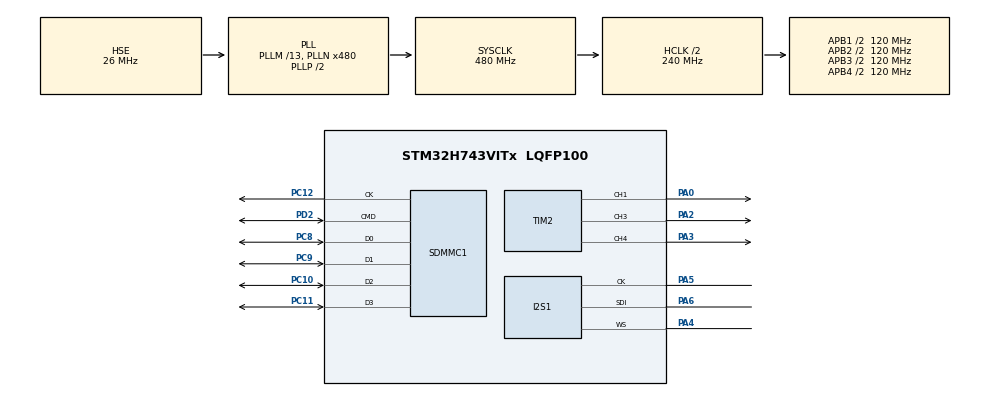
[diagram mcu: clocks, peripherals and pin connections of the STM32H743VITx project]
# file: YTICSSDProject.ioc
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CORTEX_M7.default_mode_Activation=1
Dma.Request0=SPI1_RX
Dma.SPI1_RX.0.Direction=DMA_PERIPH_TO_MEMORY
Dma.SPI1_RX.0.EventEnable=DISABLE
Dma.SPI1_RX.0.FIFOMode=DMA_FIFOMODE_DISABLE
Dma.SPI1_RX.0.Instance=DMA1_Stream0
Dma.SPI1_RX.0.MemDataAlignment=DMA_MDATAALIGN_HALFWORD
Dma.SPI1_RX.0.MemInc=DMA_MINC_ENABLE
Dma.SPI1_RX.0.Mode=DMA_CIRCULAR
Dma.SPI1_RX.0.PeriphDataAlignment=DMA_PDATAALIGN_HALFWORD
Dma.SPI1_RX.0.PeriphInc=DMA_PINC_DISABLE
Dma.SPI1_RX.0.Polarity=HAL_DMAMUX_REQ_GEN_RISING
Dma.SPI1_RX.0.Priority=DMA_PRIORITY_LOW
Dma.SPI1_RX.0.RequestNumber=1
Dma.SPI1_RX.0.SignalID=NONE
Dma.SPI1_RX.0.SyncEnable=DISABLE
Dma.SPI1_RX.0.SyncPolarity=HAL_DMAMUX_SYNC_NO_EVENT
Dma.SPI1_RX.0.SyncRequestNumber=1
Dma.SPI1_RX.0.SyncSignalID=NONE
I2S1.AudioFreq=I2S_AUDIOFREQ_32K
I2S1.DataFormat=I2S_DATAFORMAT_16B_EXTENDED
I2S1.ErrorAudioFreq=1.9 %
I2S1.Instance=SPI$Index
I2S1.RealAudioFreq=32.608 KHz
Mcu.Family=STM32H7
Mcu.Name=STM32H743VITx
Mcu.Package=LQFP100
NVIC.DMA1_Stream0_IRQn=true\:0\:0\:false\:false\:true\:false\:true\:true
NVIC.PriorityGroup=NVIC_PRIORITYGROUP_4
PA0.Signal=S_TIM2_CH1_ETR
PA2.Signal=S_TIM2_CH3
PA3.Signal=S_TIM2_CH4
PA4.Mode=Half_Duplex_Master_Rx
PA4.Signal=I2S1_WS
PA5.Mode=Half_Duplex_Master_Rx
PA5.Signal=I2S1_CK
PA6.Mode=Half_Duplex_Master_Rx
PA6.Signal=I2S1_SDI
PC10.Mode=SD_4_bits_Wide_bus
PC10.Signal=SDMMC1_D2
PC11.Mode=SD_4_bits_Wide_bus
PC11.Signal=SDMMC1_D3
PC12.Mode=SD_4_bits_Wide_bus
PC12.Signal=SDMMC1_CK
PC8.Mode=SD_4_bits_Wide_bus
PC8.Signal=SDMMC1_D0
PC9.Mode=SD_4_bits_Wide_bus
PC9.Signal=SDMMC1_D1
PD2.Mode=SD_4_bits_Wide_bus
PD2.Signal=SDMMC1_CMD
PH0-OSC_IN\ (PH0).Mode=HSE-External-Oscillator
PH0-OSC_IN\ (PH0).Signal=RCC_OSC_IN
PH1-OSC_OUT\ (PH1).Mode=HSE-External-Oscillator
PH1-OSC_OUT\ (PH1).Signal=RCC_OSC_OUT
ProjectManager.HeapSize=0x200
ProjectManager.StackSize=0x400
ProjectManager.TargetToolchain=STM32CubeIDE
RCC.ADCFreq_Value=52406250
RCC.APB1Freq_Value=120000000
RCC.APB2Freq_Value=120000000
RCC.APB3Freq_Value=120000000
RCC.APB4Freq_Value=120000000
RCC.CKPERSourceSelection=RCC_CLKPSOURCE_HSE
RCC.CortexFreq_Value=480000000
RCC.D1PPRE=RCC_APB3_DIV2
RCC.D2PPRE1=RCC_APB1_DIV2
RCC.D2PPRE2=RCC_APB2_DIV2
RCC.D3PPRE=RCC_APB4_DIV2
RCC.DIVM1=13
RCC.DIVN1=480
RCC.DIVQ1=20
RCC.HCLKFreq_Value=240000000
RCC.HPRE=RCC_HCLK_DIV2
RCC.HSE_VALUE=26000000
RCC.PLL2FRACN=0
RCC.PLL3FRACN=0
RCC.PLLFRACN=0
RCC.PLLSourceVirtual=RCC_PLLSOURCE_HSE
RCC.SYSCLKFreq_VALUE=480000000
RCC.SYSCLKSource=RCC_SYSCLKSOURCE_PLLCLK
RCC.USBFreq_Value=48000000
SDMMC1.ClockDiv=8
SH.S_TIM2_CH1_ETR.0=TIM2_CH1,PWM Generation1 CH1
SH.S_TIM2_CH3.0=TIM2_CH3,PWM Generation3 CH3
SH.S_TIM2_CH4.0=TIM2_CH4,PWM Generation4 CH4
TIM2.Channel-PWM\ Generation1\ CH1=TIM_CHANNEL_1
TIM2.Channel-PWM\ Generation3\ CH3=TIM_CHANNEL_3
TIM2.Channel-PWM\ Generation4\ CH4=TIM_CHANNEL_4
VP_FATFS_VS_SDIO.Mode=SDIO
VP_MEMORYMAP_VS_MEMORYMAP.Mode=CurAppReg
board=custom

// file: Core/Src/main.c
/* USER CODE BEGIN Header */
/**
  ******************************************************************************
  * @file           : main.c
  * @brief          : Main program body
  ******************************************************************************
  * @attention
  *
  * Copyright (c) 2025 STMicroelectronics.
  * All rights reserved.
  *
  * This software is licensed under terms that can be found in the LICENSE file
  * in the root directory of this software component.
  * If no LICENSE file comes with this software, it is provided AS-IS.
  *
  ******************************************************************************
  */
/* USER CODE END Header */
#include "main.h"
#include "fatfs.h"
#include "audio_sd.h"

/* USER CODE BEGIN PD */
#define SAMPLE_RATE        32000
#define CHANNELS           1
#define BITS_PER_SAMPLE    16
#define RECORD_TIME_SEC    20

#define BYTES_PER_FRAME    (CHANNELS * (BITS_PER_SAMPLE / 8))
#define TOTAL_BYTES_TARGET (SAMPLE_RATE * RECORD_TIME_SEC * BYTES_PER_FRAME)
/* USER CODE END PD */

I2S_HandleTypeDef hi2s1;
DMA_HandleTypeDef hdma_spi1_rx;

SD_HandleTypeDef hsd1;

TIM_HandleTypeDef htim2;

/* USER CODE BEGIN PV */
int16_t data_i2s[WAV_WRITE_SAMPLE_COUNT];
int16_t mono_buffer[WAV_WRITE_SAMPLE_COUNT / 2];
volatile int16_t sample_i2s;
volatile uint8_t start_stop_recording = 1;
volatile uint8_t half_i2s, full_i2s;
/* USER CODE END PV */
volatile uint32_t recorded_bytes = 0;
volatile uint8_t recording_done = 0;
void SystemClock_Config(void);
static void MPU_Config(void);
static void MX_GPIO_Init(void);
static void MX_DMA_Init(void);
static void MX_I2S1_Init(void);
static void MX_TIM2_Init(void);
static void MX_SDMMC1_SD_Init(void);

int main(void)
{

  /* MPU Configuration--------------------------------------------------------*/
  MPU_Config();

  /* MCU Configuration--------------------------------------------------------*/

  /* Reset of all peripherals, Initializes the Flash interface and the Systick. */
  HAL_Init();

  /* Configure the system clock */
  SystemClock_Config();

  /* Initialize all configured peripherals */
  MX_GPIO_Init();
  MX_DMA_Init();
  MX_I2S1_Init();
  MX_TIM2_Init();
  MX_SDMMC1_SD_Init();
  MX_FATFS_Init();
  /* USER CODE BEGIN 2 */

  HAL_TIM_PWM_Start(&htim2, TIM_CHANNEL_1);
  HAL_TIM_PWM_Start(&htim2, TIM_CHANNEL_3);
  HAL_TIM_PWM_Start(&htim2, TIM_CHANNEL_4);

  HAL_I2S_DMAStop(&hi2s1);
  HAL_Delay(500);
  sd_card_init();
  /* USER CODE END 2 */
  __HAL_TIM_SET_COMPARE(&htim2, TIM_CHANNEL_1, 1000);
  __HAL_TIM_SET_COMPARE(&htim2, TIM_CHANNEL_3, 0);
  __HAL_TIM_SET_COMPARE(&htim2, TIM_CHANNEL_4, 0);

  start_recording(I2S_AUDIOFREQ_32K);
  __HAL_TIM_SET_COMPARE(&htim2, TIM_CHANNEL_1, 0);
  __HAL_TIM_SET_COMPARE(&htim2, TIM_CHANNEL_3, 1000);
  __HAL_TIM_SET_COMPARE(&htim2, TIM_CHANNEL_4, 0);
  HAL_I2S_Receive_DMA(&hi2s1, (uint16_t *)data_i2s, sizeof(data_i2s)/2);
  __HAL_TIM_SET_COMPARE(&htim2, TIM_CHANNEL_1, 0);
  __HAL_TIM_SET_COMPARE(&htim2, TIM_CHANNEL_3, 0);
  __HAL_TIM_SET_COMPARE(&htim2, TIM_CHANNEL_4, 1000);
  /* Infinite loop */
  /* USER CODE BEGIN WHILE */
  while (1)
  {
	  if(start_stop_recording && half_i2s)
	  {
	      for(uint32_t i = 1, j = 0; i < WAV_WRITE_SAMPLE_COUNT / 2; i += 2)
	      {
	          mono_buffer[j++] = data_i2s[i]; // RIGHT channel
	      }

	      uint32_t bytes = (WAV_WRITE_SAMPLE_COUNT / 4) * 2;
	      write2wave_file((uint8_t*)mono_buffer, bytes);

	      recorded_bytes += bytes;
	      half_i2s = 0;
	  }
	  if(start_stop_recording && full_i2s)
	  {
	      for(uint32_t i = WAV_WRITE_SAMPLE_COUNT / 2 + 1, j = 0;
	          i < WAV_WRITE_SAMPLE_COUNT; i += 2)
	      {
	          mono_buffer[j++] = data_i2s[i]; // RIGHT channel
	      }

	      uint32_t bytes = (WAV_WRITE_SAMPLE_COUNT / 4) * 2;
	      write2wave_file((uint8_t*)mono_buffer, bytes);

	      recorded_bytes += bytes;
	      full_i2s = 0;
	  }

      /* ĐỦ 20 GIÂY → STOP */
      if(recorded_bytes >= TOTAL_BYTES_TARGET && !recording_done)
      {
          recording_done = 1;
          start_stop_recording = 0;

          HAL_I2S_DMAStop(&hi2s1);
          stop_recording();
      }
  }

  /* USER CODE END 3 */
}

void SystemClock_Config(void)
{
  RCC_OscInitTypeDef RCC_OscInitStruct = {0};
  RCC_ClkInitTypeDef RCC_ClkInitStruct = {0};

  /** Supply configuration update enable
  */
  HAL_PWREx_ConfigSupply(PWR_LDO_SUPPLY);

  /** Configure the main internal regulator output voltage
  */
  __HAL_PWR_VOLTAGESCALING_CONFIG(PWR_REGULATOR_VOLTAGE_SCALE0);

  while(!__HAL_PWR_GET_FLAG(PWR_FLAG_VOSRDY)) {}

  /** Initializes the RCC Oscillators according to the specified parameters
  * in the RCC_OscInitTypeDef structure.
  */
  RCC_OscInitStruct.OscillatorType = RCC_OSCILLATORTYPE_HSE;
  RCC_OscInitStruct.HSEState = RCC_HSE_ON;
  RCC_OscInitStruct.PLL.PLLState = RCC_PLL_ON;
  RCC_OscInitStruct.PLL.PLLSource = RCC_PLLSOURCE_HSE;
  RCC_OscInitStruct.PLL.PLLM = 13;
  RCC_OscInitStruct.PLL.PLLN = 480;
  RCC_OscInitStruct.PLL.PLLP = 2;
  RCC_OscInitStruct.PLL.PLLQ = 20;
  RCC_OscInitStruct.PLL.PLLR = 2;
  RCC_OscInitStruct.PLL.PLLRGE = RCC_PLL1VCIRANGE_1;
  RCC_OscInitStruct.PLL.PLLVCOSEL = RCC_PLL1VCOWIDE;
  RCC_OscInitStruct.PLL.PLLFRACN = 0;
  if (HAL_RCC_OscConfig(&RCC_OscInitStruct) != HAL_OK)
  {
    Error_Handler();
  }

  /** Initializes the CPU, AHB and APB buses clocks
  */
  RCC_ClkInitStruct.ClockType = RCC_CLOCKTYPE_HCLK|RCC_CLOCKTYPE_SYSCLK
                              |RCC_CLOCKTYPE_PCLK1|RCC_CLOCKTYPE_PCLK2
                              |RCC_CLOCKTYPE_D3PCLK1|RCC_CLOCKTYPE_D1PCLK1;
  RCC_ClkInitStruct.SYSCLKSource = RCC_SYSCLKSOURCE_PLLCLK;
  RCC_ClkInitStruct.SYSCLKDivider = RCC_SYSCLK_DIV1;
  RCC_ClkInitStruct.AHBCLKDivider = RCC_HCLK_DIV2;
  RCC_ClkInitStruct.APB3CLKDivider = RCC_APB3_DIV2;
  RCC_ClkInitStruct.APB1CLKDivider = RCC_APB1_DIV2;
  RCC_ClkInitStruct.APB2CLKDivider = RCC_APB2_DIV2;
  RCC_ClkInitStruct.APB4CLKDivider = RCC_APB4_DIV2;

  if (HAL_RCC_ClockConfig(&RCC_ClkInitStruct, FLASH_LATENCY_4) != HAL_OK)
  {
    Error_Handler();
  }
}

static void MX_I2S1_Init(void)
{

  hi2s1.Instance = SPI1;
  hi2s1.Init.Mode = I2S_MODE_MASTER_RX;
  hi2s1.Init.Standard = I2S_STANDARD_PHILIPS;
  hi2s1.Init.DataFormat = I2S_DATAFORMAT_16B_EXTENDED;
  hi2s1.Init.MCLKOutput = I2S_MCLKOUTPUT_DISABLE;
  hi2s1.Init.AudioFreq = I2S_AUDIOFREQ_32K;
  hi2s1.Init.CPOL = I2S_CPOL_LOW;
  hi2s1.Init.FirstBit = I2S_FIRSTBIT_MSB;
  hi2s1.Init.WSInversion = I2S_WS_INVERSION_DISABLE;
  hi2s1.Init.Data24BitAlignment = I2S_DATA_24BIT_ALIGNMENT_RIGHT;
  hi2s1.Init.MasterKeepIOState = I2S_MASTER_KEEP_IO_STATE_DISABLE;
  if (HAL_I2S_Init(&hi2s1) != HAL_OK)
  {
    Error_Handler();
  }

}

static void MX_SDMMC1_SD_Init(void)
{

  hsd1.Instance = SDMMC1;
  hsd1.Init.ClockEdge = SDMMC_CLOCK_EDGE_RISING;
  hsd1.Init.ClockPowerSave = SDMMC_CLOCK_POWER_SAVE_DISABLE;
  hsd1.Init.BusWide = SDMMC_BUS_WIDE_4B;
  hsd1.Init.HardwareFlowControl = SDMMC_HARDWARE_FLOW_CONTROL_DISABLE;
  hsd1.Init.ClockDiv = 8;

}

static void MX_TIM2_Init(void)
{

  TIM_MasterConfigTypeDef sMasterConfig = {0};
  TIM_OC_InitTypeDef sConfigOC = {0};

  htim2.Instance = TIM2;
  htim2.Init.Prescaler = 480-1;
  htim2.Init.CounterMode = TIM_COUNTERMODE_UP;
  htim2.Init.Period = 1000;
  htim2.Init.ClockDivision = TIM_CLOCKDIVISION_DIV1;
  htim2.Init.AutoReloadPreload = TIM_AUTORELOAD_PRELOAD_DISABLE;
  if (HAL_TIM_PWM_Init(&htim2) != HAL_OK)
  {
    Error_Handler();
  }
  sMasterConfig.MasterOutputTrigger = TIM_TRGO_RESET;
  sMasterConfig.MasterSlaveMode = TIM_MASTERSLAVEMODE_DISABLE;
  if (HAL_TIMEx_MasterConfigSynchronization(&htim2, &sMasterConfig) != HAL_OK)
  {
    Error_Handler();
  }
  sConfigOC.OCMode = TIM_OCMODE_PWM1;
  sConfigOC.Pulse = 0;
  sConfigOC.OCPolarity = TIM_OCPOLARITY_HIGH;
  sConfigOC.OCFastMode = TIM_OCFAST_DISABLE;
  if (HAL_TIM_PWM_ConfigChannel(&htim2, &sConfigOC, TIM_CHANNEL_1) != HAL_OK)
  {
    Error_Handler();
  }
  if (HAL_TIM_PWM_ConfigChannel(&htim2, &sConfigOC, TIM_CHANNEL_3) != HAL_OK)
  {
    Error_Handler();
  }
  if (HAL_TIM_PWM_ConfigChannel(&htim2, &sConfigOC, TIM_CHANNEL_4) != HAL_OK)
  {
    Error_Handler();
  }
  HAL_TIM_MspPostInit(&htim2);

}

static void MX_DMA_Init(void)
{

  /* DMA controller clock enable */
  __HAL_RCC_DMA1_CLK_ENABLE();

  /* DMA interrupt init */
  /* DMA1_Stream0_IRQn interrupt configuration */
  HAL_NVIC_SetPriority(DMA1_Stream0_IRQn, 0, 0);
  HAL_NVIC_EnableIRQ(DMA1_Stream0_IRQn);

}

static void MX_GPIO_Init(void)
{

  /* GPIO Ports Clock Enable */
  __HAL_RCC_GPIOH_CLK_ENABLE();
  __HAL_RCC_GPIOA_CLK_ENABLE();
  __HAL_RCC_GPIOC_CLK_ENABLE();
  __HAL_RCC_GPIOD_CLK_ENABLE();

}

/* USER CODE BEGIN 4 */
int _write(int file, char *ptr, int len)
{
	int DataIdx;

	for (DataIdx = 0; DataIdx < len; DataIdx++)
	{
		ITM_SendChar(*ptr++);
	}
	return len;
}
//	l,r,l,r,l,
void HAL_I2S_RxCpltCallback(I2S_HandleTypeDef *hi2s)
{

	full_i2s = 1;
}
void HAL_I2S_RxHalfCpltCallback(I2S_HandleTypeDef *hi2s)
{
	//sample_i2s = data_i2s[0];
	half_i2s = 1;
}

/* USER CODE END 4 */

 /* MPU Configuration */

void MPU_Config(void)
{
  MPU_Region_InitTypeDef MPU_InitStruct = {0};

  /* Disables the MPU */
  HAL_MPU_Disable();

  /** Initializes and configures the Region and the memory to be protected
  */
  MPU_InitStruct.Enable = MPU_REGION_ENABLE;
  MPU_InitStruct.Number = MPU_REGION_NUMBER0;
  MPU_InitStruct.BaseAddress = 0x0;
  MPU_InitStruct.Size = MPU_REGION_SIZE_4GB;
  MPU_InitStruct.SubRegionDisable = 0x87;
  MPU_InitStruct.TypeExtField = MPU_TEX_LEVEL0;
  MPU_InitStruct.AccessPermission = MPU_REGION_NO_ACCESS;
  MPU_InitStruct.DisableExec = MPU_INSTRUCTION_ACCESS_DISABLE;
  MPU_InitStruct.IsShareable = MPU_ACCESS_SHAREABLE;
  MPU_InitStruct.IsCacheable = MPU_ACCESS_NOT_CACHEABLE;
  MPU_InitStruct.IsBufferable = MPU_ACCESS_NOT_BUFFERABLE;

  HAL_MPU_ConfigRegion(&MPU_InitStruct);
  /* Enables the MPU */
  HAL_MPU_Enable(MPU_PRIVILEGED_DEFAULT);

}

void Error_Handler(void)
{
  __disable_irq();
  while (1)
  {
  }
}
